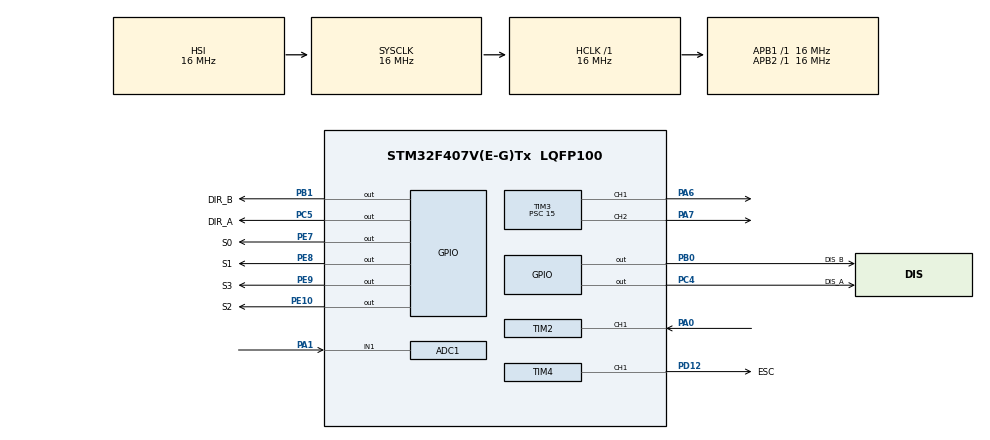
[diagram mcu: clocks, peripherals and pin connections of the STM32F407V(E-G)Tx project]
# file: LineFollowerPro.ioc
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ADC1.Channel-5\#ChannelRegularConversion=ADC_CHANNEL_1
ADC1.NbrOfConversionFlag=1
ADC1.Rank-5\#ChannelRegularConversion=1
ADC1.SamplingTime-5\#ChannelRegularConversion=ADC_SAMPLETIME_3CYCLES
ADC1.master=1
Mcu.Family=STM32F4
Mcu.Name=STM32F407V(E-G)Tx
Mcu.Package=LQFP100
NVIC.PriorityGroup=NVIC_PRIORITYGROUP_4
NVIC.TIM2_IRQn=true\:0\:0\:false\:false\:true\:true\:true
PA0-WKUP.Signal=S_TIM2_CH1_ETR
PA1.Signal=ADCx_IN1
PA13.Mode=Serial_Wire
PA13.Signal=SYS_JTMS-SWDIO
PA14.Mode=Serial_Wire
PA14.Signal=SYS_JTCK-SWCLK
PA6.Signal=S_TIM3_CH1
PA7.Signal=S_TIM3_CH2
PB0.GPIO_Label=DIS_B
PB0.GPIO_Speed=GPIO_SPEED_FREQ_MEDIUM
PB0.Signal=GPIO_Output
PB1.GPIO_Label=DIR_B
PB1.GPIO_Speed=GPIO_SPEED_FREQ_MEDIUM
PB1.Signal=GPIO_Output
PC4.GPIO_Label=DIS_A
PC4.GPIO_Speed=GPIO_SPEED_FREQ_MEDIUM
PC4.Signal=GPIO_Output
PC5.GPIO_Label=DIR_A
PC5.GPIO_Speed=GPIO_SPEED_FREQ_MEDIUM
PC5.Signal=GPIO_Output
PD12.GPIO_Label=ESC
PD12.Signal=S_TIM4_CH1
PE10.GPIO_Label=S2
PE10.GPIO_Speed=GPIO_SPEED_FREQ_MEDIUM
PE10.Signal=GPIO_Output
PE7.GPIO_Label=S0
PE7.GPIO_Speed=GPIO_SPEED_FREQ_MEDIUM
PE7.Signal=GPIO_Output
PE8.GPIO_Label=S1
PE8.GPIO_Speed=GPIO_SPEED_FREQ_MEDIUM
PE8.Signal=GPIO_Output
PE9.GPIO_Label=S3
PE9.GPIO_Speed=GPIO_SPEED_FREQ_MEDIUM
PE9.Signal=GPIO_Output
ProjectManager.HeapSize=0x200
ProjectManager.StackSize=0x400
ProjectManager.TargetToolchain=STM32CubeIDE
RCC.AHBFreq_Value=16000000
RCC.APB1Freq_Value=16000000
RCC.APB2Freq_Value=16000000
RCC.CortexFreq_Value=16000000
RCC.HSE_VALUE=25000000
RCC.HSI_VALUE=16000000
RCC.LSE_VALUE=32768
RCC.SYSCLKFreq_VALUE=16000000
RCC.VCOOutputFreq_Value=192000000
SH.ADCx_IN1.0=ADC1_IN1,IN1
SH.S_TIM2_CH1_ETR.0=TIM2_CH1,Input_Capture1_from_TI1
SH.S_TIM3_CH1.0=TIM3_CH1,PWM Generation1 CH1
SH.S_TIM3_CH2.0=TIM3_CH2,PWM Generation2 CH2
SH.S_TIM4_CH1.0=TIM4_CH1,PWM Generation1 CH1
TIM2.Channel-Input_Capture1_from_TI1=TIM_CHANNEL_1
TIM2.ICFilter_CH1=15
TIM2.ICPolarity_CH1=TIM_INPUTCHANNELPOLARITY_FALLING
TIM2.Prescaler=159
TIM3.Channel-PWM\ Generation1\ CH1=TIM_CHANNEL_1
TIM3.Channel-PWM\ Generation2\ CH2=TIM_CHANNEL_2
TIM3.Period=499
TIM3.Prescaler=15
TIM4.Channel-PWM\ Generation1\ CH1=TIM_CHANNEL_1
TIM4.Period=1999
TIM4.Prescaler=159
VP_TIM2_VS_ClockSourceINT.Mode=Internal
VP_TIM3_VS_ClockSourceINT.Mode=Internal
VP_TIM4_VS_ClockSourceINT.Mode=Internal
board=custom

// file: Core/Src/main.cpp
/* USER CODE BEGIN Header */
/**
  ******************************************************************************
  * @file           : main.c
  * @brief          : Main program body
  ******************************************************************************
  * @attention
  *
  * <h2><center>&copy; Copyright (c) 2021 STMicroelectronics.
  * All rights reserved.</center></h2>
  *
  * This software component is licensed by ST under BSD 3-Clause license,
  * the "License"; You may not use this file except in compliance with the
  * License. You may obtain a copy of the License at:
  *                        opensource.org/licenses/BSD-3-Clause
  *
  ******************************************************************************
  */
/* USER CODE END Header */
#include "main.h"
#include "adc.h"
#include "tim.h"
#include "gpio.h"

/* USER CODE BEGIN Includes */
#define white 1
#define black 0
#define OUT_LINE  100.0
#define ON 16718054
#define OFF 16726214
/* USER CODE END Includes */

/* USER CODE BEGIN PTD */
typedef enum {CENTER,RIGHT,LEFT} Out_state;
typedef enum {START,DATA,DATA_FULL}State_ir;
typedef enum {HOME,STARTING,RUN} State;

/* USER CODE END PTD */

/* USER CODE BEGIN PV */

class Sensors_qtr
{
	private:
		bool background_color;
		int sensor_qtr[16];
		GPIO_TypeDef *GPIO;
		uint16_t S[4];
		ADC_HandleTypeDef *hadc;
 		Out_state out_state;
	public:
 		Sensors_qtr(ADC_HandleTypeDef *hadc,GPIO_TypeDef *GPIO,uint16_t S0, uint16_t S1, uint16_t S2, uint16_t S3);
 		int read_adc(void);
 		void read_sensors_qtr(void);
 		float update_error();
 		Out_state get_out_state(void){return this->out_state;};
 		int* get_sensors_qtr(void){return this->sensor_qtr;};
};

class IR_NEC
{
	private:
		uint32_t input_capture;
		uint32_t input_diference;
		uint32_t input_last;
		uint32_t data;
		uint8_t sample;
		State_ir  state;
		TIM_HandleTypeDef *htim;
		uint32_t TIM_CHANNEL;
	public:
		IR_NEC(TIM_HandleTypeDef *htim,uint32_t TIM_CHANNEL);
		void init(void);
		void decode(void);
		State_ir get_state(){return this->state;};
		uint32_t get_data(){return this->data;};
		void restart(void);
};

class Motor_Driver
{
	private:
		int speed;
		int MAX_SPEED;
		GPIO_TypeDef *GPIO;
		uint16_t DIS;
		uint16_t DIR;
		TIM_HandleTypeDef *htim;
		uint32_t TIM_CHANNEL;
	public:
		Motor_Driver(int MAX_SPEED,GPIO_TypeDef *GPIO,uint16_t DIS,uint16_t DIR,TIM_HandleTypeDef *htim,uint32_t TIM_CHANNEL);
		void init(void);
		void set_max_speed(int MAX_SPEED){this->MAX_SPEED = MAX_SPEED;};
		void update_speed(int speed,bool clockwise);
};

class ESC_Turbine
{
	private:
		int speed;
		TIM_HandleTypeDef *htim;
		uint32_t TIM_CHANNEL;
	public:
		ESC_Turbine(TIM_HandleTypeDef *htim,uint32_t TIM_CHANNEL);
		void init(void);
		void update_speed(int speed);
		void calibrate(void);
};

class Control_PID
{
	private:
		int u;
		float kp;
		float ki;
		float kd;
		float error_now;
		float error_last[6];
		float sum_errors;
	public:
		Control_PID(float kp,float ki,float kd);
		void set_tunings(float kp,float ki,float Kd);
		void compute(float error_now);
		int correction(void){return this->u;};
};

class Line_Follower
{
	private:
		int speed_left;
		int speed_right;
		int MAX_SPEED;
		int MED_SPEED;
		float error_now;
		State state;
		Control_PID *PID;
		ESC_Turbine *Turbine;
		Sensors_qtr *Sensors;
		Motor_Driver *Motor_left;
		Motor_Driver *Motor_right;
	public:
		Line_Follower();
		void init(void);
		void turn_on_off(IR_NEC *IR);
		void state_machine(void);
};
/* USER CODE END PV */

void SystemClock_Config(void);
/* USER CODE BEGIN PFP */
//Sensors_qtr *Sensors = new Sensors_qtr(&hadc1,GPIOE,S0_Pin,S1_Pin,S2_Pin,S3_Pin);

/* USER CODE END PFP */

/* USER CODE BEGIN 0 */

IR_NEC Ir_Nec(&htim2,TIM_CHANNEL_1);
Line_Follower Line_follower;
/* USER CODE END 0 */

int main(void)
{

  /* MCU Configuration--------------------------------------------------------*/

  /* Reset of all peripherals, Initializes the Flash interface and the Systick. */
  HAL_Init();

  /* Configure the system clock */
  SystemClock_Config();

  /* Initialize all configured peripherals */
  MX_GPIO_Init();
  MX_ADC1_Init();
  MX_TIM2_Init();
  MX_TIM3_Init();
  MX_TIM4_Init();
  /* USER CODE BEGIN 2 */

  Ir_Nec.init();
  Line_follower.init();
  /* USER CODE END 2 */

  /* Infinite loop */
  while (1)
  {

    /* USER CODE BEGIN 3 */
	  Line_follower.turn_on_off(&Ir_Nec);
	  Line_follower.state_machine();
  }
  /* USER CODE END 3 */
}

void SystemClock_Config(void)
{
  RCC_OscInitTypeDef RCC_OscInitStruct = {0};
  RCC_ClkInitTypeDef RCC_ClkInitStruct = {0};

  /** Configure the main internal regulator output voltage
  */
  __HAL_RCC_PWR_CLK_ENABLE();
  __HAL_PWR_VOLTAGESCALING_CONFIG(PWR_REGULATOR_VOLTAGE_SCALE1);
  /** Initializes the RCC Oscillators according to the specified parameters
  * in the RCC_OscInitTypeDef structure.
  */
  RCC_OscInitStruct.OscillatorType = RCC_OSCILLATORTYPE_HSI;
  RCC_OscInitStruct.HSIState = RCC_HSI_ON;
  RCC_OscInitStruct.HSICalibrationValue = RCC_HSICALIBRATION_DEFAULT;
  RCC_OscInitStruct.PLL.PLLState = RCC_PLL_NONE;
  if (HAL_RCC_OscConfig(&RCC_OscInitStruct) != HAL_OK)
  {
    Error_Handler();
  }
  /** Initializes the CPU, AHB and APB buses clocks
  */
  RCC_ClkInitStruct.ClockType = RCC_CLOCKTYPE_HCLK|RCC_CLOCKTYPE_SYSCLK
                              |RCC_CLOCKTYPE_PCLK1|RCC_CLOCKTYPE_PCLK2;
  RCC_ClkInitStruct.SYSCLKSource = RCC_SYSCLKSOURCE_HSI;
  RCC_ClkInitStruct.AHBCLKDivider = RCC_SYSCLK_DIV1;
  RCC_ClkInitStruct.APB1CLKDivider = RCC_HCLK_DIV1;
  RCC_ClkInitStruct.APB2CLKDivider = RCC_HCLK_DIV1;

  if (HAL_RCC_ClockConfig(&RCC_ClkInitStruct, FLASH_LATENCY_0) != HAL_OK)
  {
    Error_Handler();
  }
}

/* USER CODE BEGIN 4 */

Sensors_qtr::Sensors_qtr(ADC_HandleTypeDef *hadc, GPIO_TypeDef *GPIO, uint16_t S0, uint16_t S1, uint16_t S2, uint16_t S3)
{
	this->background_color = white;
	this->out_state = CENTER;
	for(int i=0;i<16;i++)
		this->sensor_qtr[i] = 0;
	this->hadc = hadc;
	this->GPIO = GPIO;
	this->S[0] = S0;
	this->S[1] = S1;
	this->S[2] = S2;
	this->S[3] = S3;
	return;
}

int Sensors_qtr::read_adc(void)
{
	int sensor_value = 4095;
	HAL_ADC_Start(this->hadc);
	if(HAL_ADC_PollForConversion(this->hadc,5) == HAL_OK)
		sensor_value  = (int)(HAL_ADC_GetValue(this->hadc));
	HAL_ADC_Stop(this->hadc);
	return sensor_value;
}

void Sensors_qtr::read_sensors_qtr()
{
	for(uint8_t i = 0;i<16;i++)
	{
		HAL_GPIO_WritePin(this->GPIO, S[0], (GPIO_PinState)(i & 0x01));
		HAL_GPIO_WritePin(this->GPIO, S[1], (GPIO_PinState)(i & 0x02));
		HAL_GPIO_WritePin(this->GPIO, S[2], (GPIO_PinState)(i & 0x04));
		HAL_GPIO_WritePin(this->GPIO, S[3], (GPIO_PinState)(i & 0x08));
		this->sensor_qtr[i] = this->read_adc();
	}
	return;
}

float Sensors_qtr::update_error()
{
	int max;
	int min;
	int threshold;
	int range;
	int sum = 0;
	int weigth[8] = {8,7,6,5,4,3,2,1};
	int errorLeft = 0;
	int errorRight = 0;
	float error_now = 0.0;
	//Read samples from each sensor
	this->read_sensors_qtr();
	max = min = this->sensor_qtr[0];
	for(int i=1;i<16;i++)
	{
		if(this->sensor_qtr[i]> max)
			max = this->sensor_qtr[i];
		if(this->sensor_qtr[i] < min)
			min = this->sensor_qtr[i];
	}
	range = max-min;
	if(range > 400)
	{
		threshold = (range/2)+min;
		for(int i=0;i<16;i++)
		{
			if(this->background_color)
				this->sensor_qtr[i] = (this->sensor_qtr[i] < threshold) ? 1 : 0;
			else
				this->sensor_qtr[i] = (this->sensor_qtr[i] > threshold) ? 1 : 0;
		}
		for(int i=0;i<8;i++)
		{
			errorLeft += this->sensor_qtr[i]*weigth[i];
			errorRight += this->sensor_qtr[15-i]*weigth[i];
		}
		for(int i=0;i<16;i++)
			sum += this->sensor_qtr[i];
		error_now = (float)(errorRight-errorLeft)/(float)(sum);
		this->out_state = ((error_now <= 2.5)&&(error_now >=(0-2.5)))  ? CENTER : this->out_state;
		this->out_state = ((error_now > 2.5)&&(error_now <=8.0))        ?  RIGHT: this->out_state;
        this->out_state = ((error_now <(0-2.5))&&(error_now >=(0-8.0))) ? LEFT: this->out_state;
        return error_now;
	}
	else
		return  OUT_LINE;
	return error_now;
}

//-----------------------------------------------------------------
IR_NEC::IR_NEC(TIM_HandleTypeDef *htim,uint32_t TIM_CHANNEL)
{
	this->input_capture = 0;
	this->input_diference = 0;
	this->input_last = 0;
	this->sample = 0;
	this->htim = htim;
	this->TIM_CHANNEL = TIM_CHANNEL;
}

void IR_NEC::init(void)
{
	HAL_TIM_IC_Start_IT(this->htim,this->TIM_CHANNEL);
	this->state = START;
}

void IR_NEC::decode(void)
{
	if(this->state == START)
	{
		//Restart counter
		__HAL_TIM_SetCounter(this->htim,0);
		//Clear variables
		this->input_capture = 0;
		this->input_last = 0;
		this->input_diference = 0;
		this->sample = 0;
		//start protocol
		this->state = DATA;
  }
  else if(this->state == DATA)
  {
	  //Read Timer
	  this->input_capture = __HAL_TIM_GetCompare(this->htim,this->TIM_CHANNEL);    //read TIM2 channel 1 capture value
	  //get difference between first pulse to second pulse
	  this->input_diference =  this->input_capture - this->input_last;
	  //if the logic bit 1 occurs
	  if(this->input_diference > 215 && this->input_diference < 235)//225
	  {
		 this->data |= (1UL << (31 - this->sample));   // write 1
		 this->sample++;//increase sample
	  }
	  //if the logic bit 0 occurs
	  else if(this->input_diference > 102 && this->input_diference < 122)//112
	  {
		  this->data &= ~(1UL << (31 - this->sample));//write 0
		  this->sample++;//increase sample
	  }
	  if(this->sample==31)//if sample is 31 data is full
		  this->state = DATA_FULL;
	  this->input_last = this->input_capture;
	  }
	return;
}

void HAL_TIM_IC_CaptureCallback(TIM_HandleTypeDef *htim)
{
	if (htim->Instance == TIM2)
		Ir_Nec.decode();
   return;
}

void IR_NEC::restart(void)
{
	HAL_Delay(185);
	this->state = START;
	return;
}

Motor_Driver::Motor_Driver(int MAX_SPEED,GPIO_TypeDef *GPIO,uint16_t DIS,uint16_t DIR,TIM_HandleTypeDef *htim,uint32_t TIM_CHANNEL)
{
	this->MAX_SPEED = MAX_SPEED;
	this->GPIO = GPIO;
	this->DIS = DIS;
	this->DIR = DIR;
	this->htim = htim;
	this->TIM_CHANNEL = TIM_CHANNEL;
}

void Motor_Driver::init(void)
{
	HAL_TIM_PWM_Start(this->htim, this->TIM_CHANNEL);
	HAL_GPIO_WritePin(this->GPIO, this->DIS, GPIO_PIN_RESET);
}

void Motor_Driver::update_speed(int speed,bool clockwise)
{
	this->speed = speed;
	if(!this->speed)
	{
		HAL_GPIO_WritePin(this->GPIO,this->DIR,GPIO_PIN_RESET);
		__HAL_TIM_SET_COMPARE(this->htim,this->TIM_CHANNEL,0);
	}
	else
	{
		if (this->speed >=1)
		{
			this->speed = (this->speed >= this->MAX_SPEED) ? this->MAX_SPEED : this->speed;
			if(clockwise)
				HAL_GPIO_WritePin(this->GPIO,this->DIR,GPIO_PIN_RESET);
			else
				HAL_GPIO_WritePin(this->GPIO,this->DIR,GPIO_PIN_SET);
			__HAL_TIM_SET_COMPARE(this->htim,this->TIM_CHANNEL,this->speed);
		}
		else
		{
			this->speed *= (0-1);
			this->speed = (this->speed >= this->MAX_SPEED) ? this->MAX_SPEED : this->speed;
			if(clockwise)
				HAL_GPIO_WritePin(this->GPIO,this->DIR,GPIO_PIN_SET);
			else
				HAL_GPIO_WritePin(this->GPIO,this->DIR,GPIO_PIN_RESET);
			__HAL_TIM_SET_COMPARE(this->htim,this->TIM_CHANNEL,this->speed);
		}
	}
	return;
}

ESC_Turbine::ESC_Turbine(TIM_HandleTypeDef *htim,uint32_t TIM_CHANNEL)
{
	this->htim = htim;
	this->TIM_CHANNEL = TIM_CHANNEL;
	this->speed = 0;
}

void ESC_Turbine::init(void)
{
	this->speed = 12;
	HAL_TIM_PWM_Start(this->htim,this->TIM_CHANNEL);
}

void ESC_Turbine::update_speed(int speed)
{
	this->speed = speed;
	if(this->speed < 0)
		this->speed = 0;
	else if(this->speed > 100)
		this->speed = 100;
	this->speed += 100;
	__HAL_TIM_SET_COMPARE(this->htim,this->TIM_CHANNEL,this->speed);
	return;
}

void ESC_Turbine::calibrate(void)
{
	  this->update_speed(12);
	  HAL_Delay(8000);
}

Control_PID::Control_PID(float kp,float ki,float kd)
{
	this->kp = kp;
	this->ki = ki;
	this->kd = kd;
	this->error_now = 0.0;
	for(int i = 0; i<6;i++)
		this->error_last[i] = 0.0;
	this->sum_errors = 0.0;
	this->u = 0;
}

void Control_PID::set_tunings(float kp,float ki,float Kd)
{
	this->kp = kp;
	this->ki = ki;
	this->kd = kd;
}

void Control_PID::compute(float error_now)
{
	this->error_now = error_now;
	this->sum_errors = 0.0;
	for(int i =0;i<6;i++)
		this->sum_errors += this->error_last[i];
	this->u = (int)(this->kp * this->error_now + this->kd * (this->error_now - this->error_last[0])+ this->ki*this->sum_errors);
	this->error_last[5] = this->error_last[4];
	this->error_last[4] = this->error_last[3];
	this->error_last[3] = this->error_last[2];
	this->error_last[2] = this->error_last[1];
	this->error_last[1] = this->error_last[0];
	this->error_last[0] = this->error_now;
}

Line_Follower::Line_Follower()
{
	this->MAX_SPEED = 225;
	this->MED_SPEED = 180;
	this->speed_right = 0;
	this->speed_left = 0;
	this->error_now = 0.0;
	this->state = HOME;
	this->Sensors = new Sensors_qtr(&hadc1,GPIOE,S0_Pin,S1_Pin,S2_Pin,S3_Pin);
	this->Turbine = new ESC_Turbine(&htim4,TIM_CHANNEL_1);
	this->Motor_left = new Motor_Driver(this->MAX_SPEED,GPIOC,DIS_A_Pin,DIR_A_Pin,&htim3,TIM_CHANNEL_1);
	this->Motor_right = new Motor_Driver(this->MAX_SPEED,GPIOB,DIS_B_Pin,DIR_B_Pin,&htim3,TIM_CHANNEL_2);
	this->PID = new Control_PID(78.7781, 0.1, 216.6373);
}

void Line_Follower::init(void)
{
	this->Motor_left->init();
	this->Motor_right->init();
	this->Turbine->init();
	this->Turbine->calibrate();
}

void Line_Follower::turn_on_off(IR_NEC *IR)
{
	if(IR->get_state() == DATA_FULL)
	{
		switch (IR->get_data())
		{
			case ON:
		    	this->PID->set_tunings(78.7781, 0.1, 216.6373);
		        this->MAX_SPEED = 225;
		        this->MED_SPEED = 180;
		        this->Motor_left->set_max_speed(this->MAX_SPEED);
		        this->Motor_right->set_max_speed(this->MAX_SPEED);
		        this->state = STARTING;
		      	break;
		    case OFF:
				this->state = HOME;
		        break;
		}
		IR->restart();
	}
}

void Line_Follower::state_machine(void)
{
	switch (this->state)
	{
		case HOME:
			this->Turbine->update_speed(12);
			this->speed_left = 0;
			this->speed_right = 0;
			break;
		case STARTING:
			this->Turbine->update_speed(38);
			this->state = RUN;
			HAL_Delay(1000);
			break;
		case RUN:
			//Read real error -8 to 8
			this->error_now = this->Sensors->update_error();
			//Out line
			if(this->error_now == OUT_LINE)
			{
				//Outline
				switch (this->Sensors->get_out_state())
				{
					case CENTER:
						this->speed_left = this->MED_SPEED;
						this->speed_right = this->MED_SPEED;
						break;
					case RIGHT:
					   	this->speed_left = this->MAX_SPEED;
						this->speed_right = (0 - this->MAX_SPEED);
						break;
					case LEFT:
					   	this->speed_left = (0 - this->MAX_SPEED);
					   	this->speed_right = this->MAX_SPEED;
					   	break;
				}
			}
			else
			{
				//Online state machine//
				this->PID->compute(this->error_now);
				this->speed_left = this->MED_SPEED  + this->PID->correction();
				this->speed_right = this->MED_SPEED - this->PID->correction();
			}
			break;
		}
		this->Motor_left->update_speed(this->speed_left, false);
		this->Motor_right->update_speed(this->speed_right, false);
}

/* USER CODE END 4 */

void Error_Handler(void)
{
  __disable_irq();
  while (1)
  {
  }
}

/************************ (C) COPYRIGHT STMicroelectronics *****END OF FILE****/
